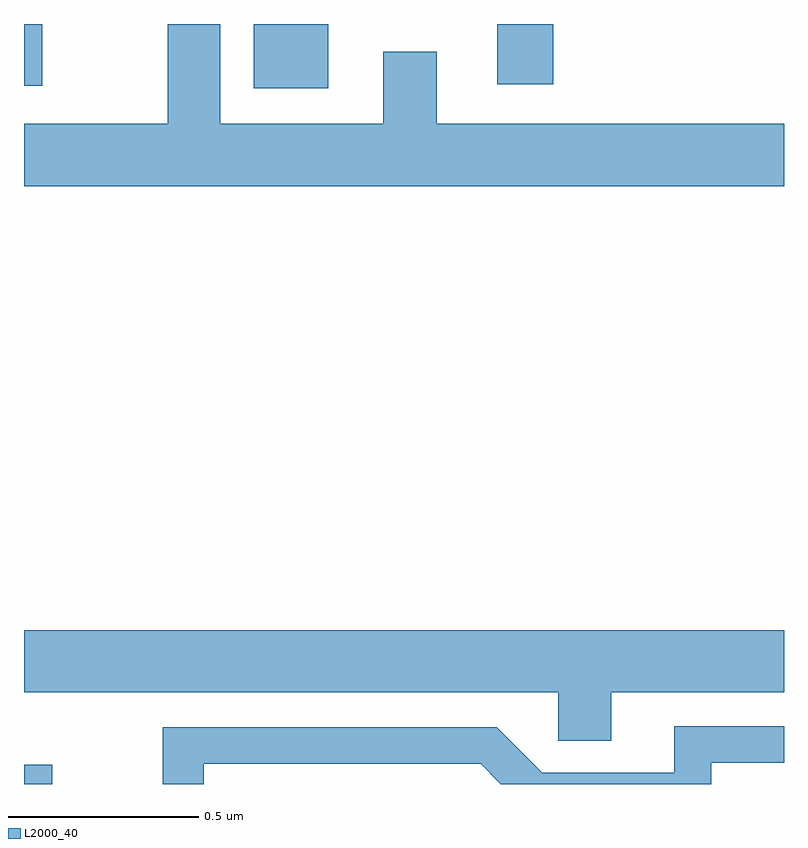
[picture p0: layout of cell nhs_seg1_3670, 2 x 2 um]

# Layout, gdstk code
import gdstk
lib = gdstk.Library(unit=1e-6, precision=1e-09)
def R(c, l, rs):  # rectangles x0, y0, x1, y1
    for r in rs: c.add(gdstk.rectangle(r[:2], r[2:], *l))
def P(c, l, *ps):  # polygons
    for p in ps: c.add(gdstk.Polygon(p, *l))
L2000_40 = (2000, 40)

nhs_seg1_3670 = lib.new_cell('nhs_seg1_3670')
R(nhs_seg1_3670, L2000_40, [(157,510.199,157.074,510.25), (157.605,512.03,157.801,512.199), (157,512.037,157.048,512.199), (158.246,512.04,158.393,512.199)])
P(nhs_seg1_3670, L2000_40, [(159,511.936),(158.086,511.936),(158.086,512.126),(157.946,512.126),(157.946,511.936),(157.516,511.936),(157.516,512.199),(157.378,512.199),(157.378,511.936),(157,511.936),(157,511.772),(159,511.772)],
  [(158.545,510.44),(159,510.44),(159,510.604),(157,510.604),(157,510.44),(158.406,510.44),(158.406,510.313),(158.545,510.313)],
  [(157.473,510.252),(158.202,510.252),(158.255,510.199),(158.808,510.199),(158.808,510.255),(159,510.255),(159,510.351),(158.711,510.351),(158.711,510.228),(158.364,510.228),(158.244,510.348),(157.365,510.348),(157.365,510.199),(157.473,510.199)])

lib.write_gds('nhs_seg1_3670.gds')
